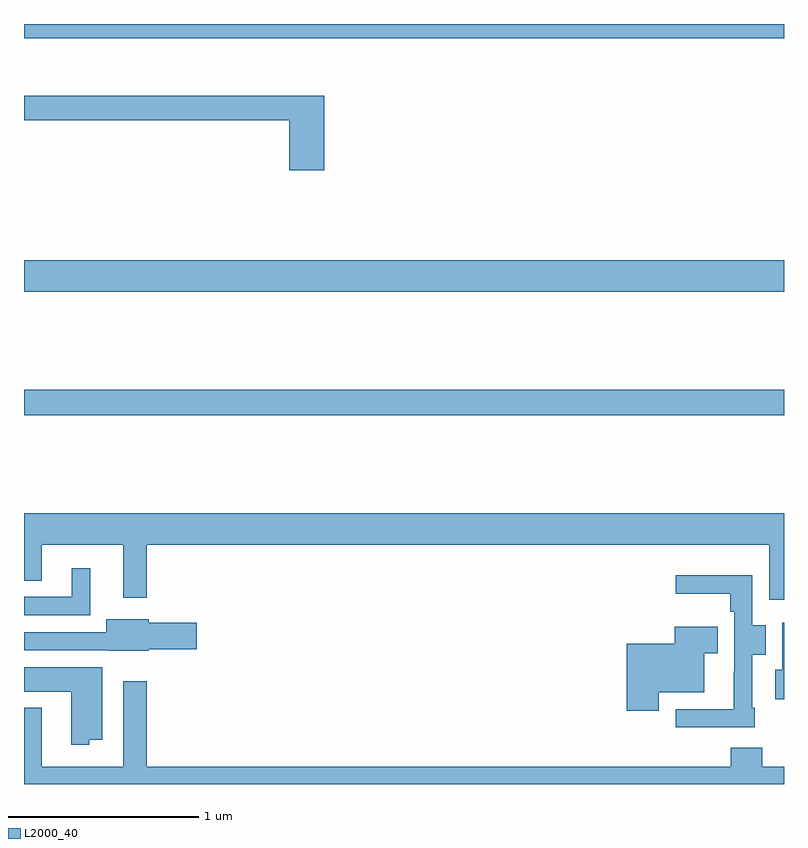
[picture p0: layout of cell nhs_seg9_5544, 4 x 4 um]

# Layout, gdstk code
import gdstk
lib = gdstk.Library(unit=1e-6, precision=1e-09)
def R(c, l, rs):  # rectangles x0, y0, x1, y1
    for r in rs: c.add(gdstk.rectangle(r[:2], r[2:], *l))
def P(c, l, *ps):  # polygons
    for p in ps: c.add(gdstk.Polygon(p, *l))
L2000_40 = (2000, 40)

nhs_seg9_5544 = lib.new_cell('nhs_seg9_5544')
R(nhs_seg9_5544, L2000_40, [(433,1190.44,437,1190.576), (433,1191.092,437,1191.256), (433,1192.424,437,1192.5)])
P(nhs_seg9_5544, L2000_40, [(434.579,1192.123),(433,1192.123),(433,1191.994),(434.396,1191.994),(434.396,1191.729),(434.579,1191.729)],
  [(437,1189.924),(433,1189.924),(433,1189.57),(433.093,1189.57),(433.093,1189.76),(433.523,1189.76),(433.523,1189.479),(433.645,1189.479),(433.645,1189.76),(436.923,1189.76),(436.923,1189.47),(437,1189.47)],
  [(433.348,1189.636),(433.25,1189.636),(433.25,1189.485),(433,1189.485),(433,1189.389),(433.348,1189.389)],
  [(436.846,1188.901),(436.833,1188.901),(436.833,1189.18),(436.903,1189.18),(436.903,1189.335),(436.833,1189.335),(436.833,1189.6),(436.431,1189.6),(436.431,1189.502),(436.717,1189.502),(436.717,1189.406),(436.737,1189.406),(436.737,1189.091),(436.736,1189.091),(436.736,1188.894),(436.431,1188.894),(436.431,1188.798),(436.846,1188.798)],
  [(433.656,1189.208),(433.909,1189.208),(433.909,1189.35),(433.656,1189.35),(433.656,1189.366),(433.433,1189.366),(433.433,1189.299),(433,1189.299),(433,1189.203),(433.437,1189.203),(433.437,1189.202),(433.656,1189.202)],
  [(437,1189.348),(436.992,1189.348),(436.992,1189.101),(436.955,1189.101),(436.955,1188.945),(437,1188.945)],
  [(436.342,1188.983),(436.579,1188.983),(436.579,1189.187),(436.652,1189.187),(436.652,1189.327),(436.424,1189.327),(436.424,1189.237),(436.172,1189.237),(436.172,1188.885),(436.342,1188.885)],
  [(433.344,1188.734),(433.411,1188.734),(433.411,1189.114),(433,1189.114),(433,1188.986),(433.248,1188.986),(433.248,1188.707),(433.344,1188.707)],
  [(437,1188.592),(436.886,1188.592),(436.886,1188.691),(436.721,1188.691),(436.721,1188.592),(433.645,1188.592),(433.645,1189.042),(433.523,1189.042),(433.523,1188.592),(433.093,1188.592),(433.093,1188.901),(433,1188.901),(433,1188.5),(437,1188.5)])

lib.write_gds('nhs_seg9_5544.gds')
